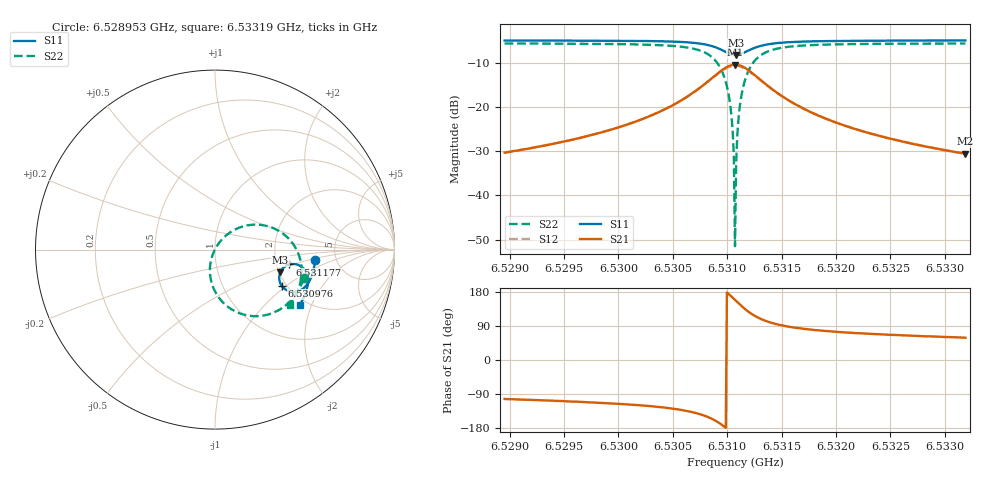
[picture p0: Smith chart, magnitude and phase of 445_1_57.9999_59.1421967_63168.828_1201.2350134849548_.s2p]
#  HZ  S  RI  R  50.00
! Rohde & Schwarz Vector Network Analyzer
! Rohde-Schwarz,ZNB20-2Port,1311601062101988,3.16
! Created: UTC 3/21/2024, 1:10:12 AM
! freq[Hz]  re:S11  im:S11  re:S21  im:S21  re:S12  im:S12  re:S22  im:S22
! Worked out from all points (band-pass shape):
!   401 points, 6.528953 GHz to 6.53319 GHz, reference 50 ohm
!   highest |S21| = -10.46 dB at 6.531072 GHz (marker M1); lowest = -30.6 dB at 6.53319 GHz (marker M2)
!   |S21| within 3 dB of the highest: 6.530861 GHz to 6.531285 GHz (423.3 kHz wide, 0.00648 % of centre)
!   lowest |S11| = -8.3 dB at 6.531082 GHz (marker M3), VSWR 2.25, Z = 101 - j30.2 ohm
!   |S11| at or under -10 dB: nowhere
!   |S22| runs from -51.5 to -5.7 dB; largest |S21 - S12| = 0.011
!   S11 on the Smith chart (normalised r, x): 6.528953 GHz: 3.45, -0.58; 6.530976 GHz: 1.89, -0.93; 6.531177 GHz: 2.35, -0.47; 6.53319 GHz: 1.82, -1.65
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6.5289526e9  0.5582 -0.0571  -0.0067 -0.0297  -0.00735 -0.0295  0.495 -0.16
6.5296625e9  0.548 -0.1157  -0.0159 -0.0423  -0.0169 -0.042  0.4652 -0.2255
6.5303723e9  0.5198 -0.1851  -0.0488 -0.0724  -0.0508 -0.0712  0.3857 -0.3172
6.5307961e9  0.4504 -0.2344  -0.1541 -0.0981  -0.1563 -0.0921  0.1832 -0.3672
6.530902e9  0.4067 -0.2295  -0.2221 -0.0727  -0.2215 -0.0636  0.0669 -0.3147
6.5309762e9  0.3725 -0.2028  -0.2724 -0.0158  -0.2673 -0.00614  -0.0102 -0.2107
6.5310292e9  0.3584 -0.1679  -0.2895 0.0504  -0.2805 0.0576  -0.0279 -0.098
6.5310398e9  0.3577 -0.1599  -0.2891 0.0654  -0.2796 0.0716  -0.0251 -0.0736
6.5310504e9  0.3579 -0.1515  -0.2874 0.0803  -0.2775 0.0857  -0.0197 -0.0491
6.531061e9  0.359 -0.1433  -0.284 0.0952  -0.2738 0.0996  -0.0119 -0.0252
6.5310716e9  0.3611 -0.1353  -0.2792 0.1099  -0.2688 0.1133  -0.00175 -0.00202
6.5310821e9  0.3637 -0.1273  -0.273 0.1238  -0.2626 0.1264  0.0106 0.0201
6.5310927e9  0.3673 -0.1197  -0.2656 0.1371  -0.2552 0.1387  0.0251 0.0408
6.5311033e9  0.3719 -0.1128  -0.2568 0.1494  -0.2466 0.1503  0.0414 0.0596
6.5311139e9  0.3768 -0.1063  -0.2469 0.1606  -0.2372 0.1607  0.0593 0.0768
6.5311351e9  0.3885 -0.0956  -0.2249 0.1798  -0.2162 0.1784  0.0982 0.1047
6.5311775e9  0.415 -0.0828  -0.1773 0.2026  -0.1708 0.1999  0.1811 0.1352
6.5312517e9  0.457 -0.0831  -0.1033 0.205  -0.1 0.202  0.306 0.1266
6.5313576e9  0.4934 -0.1054  -0.0396 0.1748  -0.0382 0.173  0.4102 0.0615
6.5317814e9  0.5182 -0.1849  0.0153 0.0842  0.0163 0.0841  0.4829 -0.1279
6.5324912e9  0.4984 -0.2564  0.0175 0.0404  0.0182 0.0402  0.4552 -0.2447
6.5331905e9  0.4712 -0.3082  0.0153 0.0252  0.0158 0.025  0.4204 -0.306
